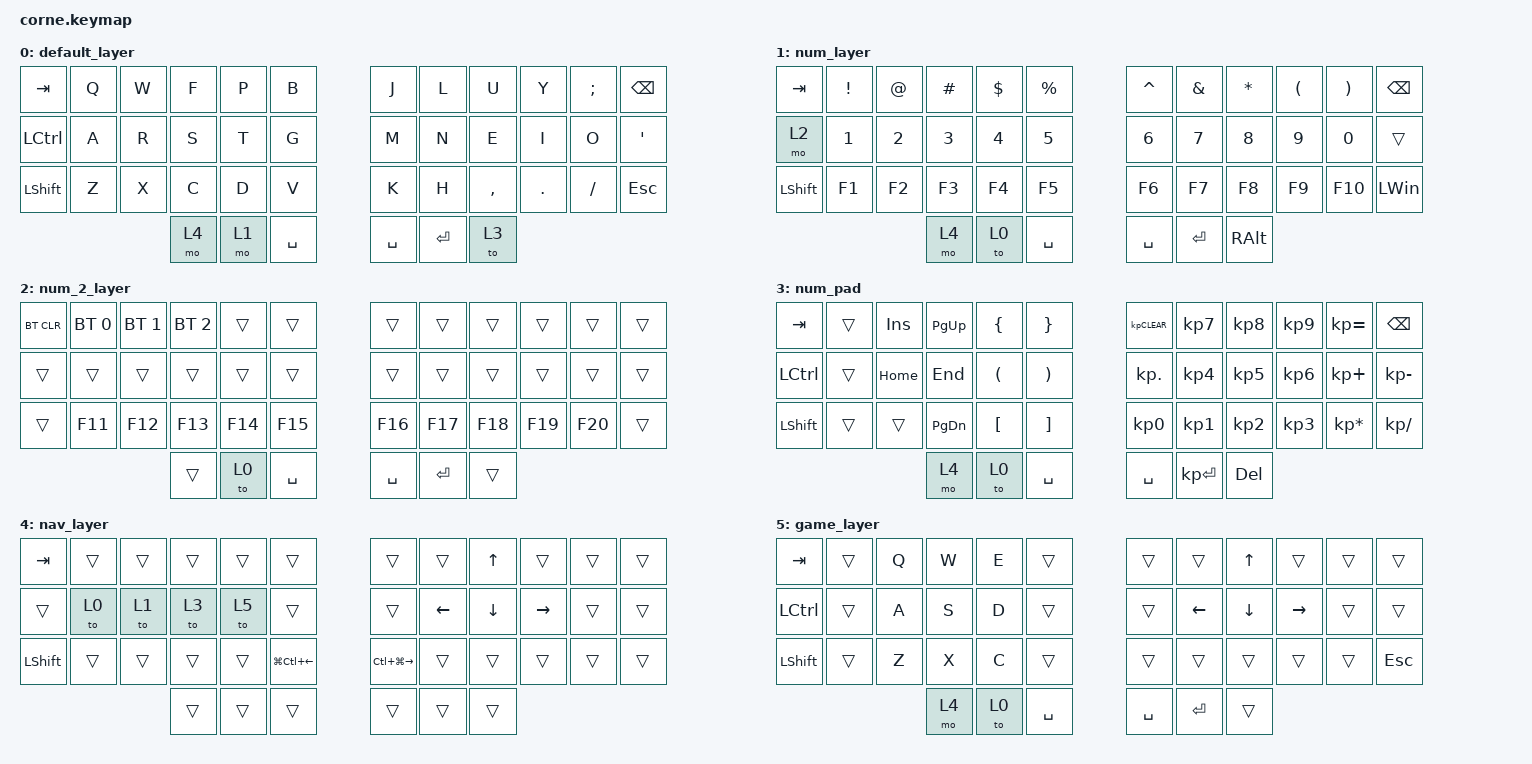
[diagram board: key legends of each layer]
/*
 * Copyright (c) 2020 The ZMK Contributors
 *
 * SPDX-License-Identifier: MIT
 */

#include <behaviors.dtsi>
#include <dt-bindings/zmk/bt.h>
#include <dt-bindings/zmk/keys.h>

/ {
    keymap {
        compatible = "zmk,keymap";

        default_layer {
            // -----------------------------------------------------------------------------------------
            // |  TAB |  Q  |  W  |  E  |  R  |  T  |   |  Y  |  U   |  I  |  O  |  P  | BKSP |
            // | CTRL |  A  |  S  |  D  |  F  |  G  |   |  H  |  J   |  K  |  L  |  ;  |  '   |
            // | SHFT |  Z  |  X  |  C  |  V  |  B  |   |  N  |  M   |  ,  |  .  |  /  | ESC  |
            //                    | GUI | LWR | SPC |   | ENT | RSE  | ALT |

            bindings = <
  &kp TAB  &kp Q  &kp W  &kp F  &kp P      &kp B        &kp J    &kp L      &kp U    &kp Y  &kp SEMI        &kp BSPC
&kp LCTRL  &kp A  &kp R  &kp S  &kp T      &kp G        &kp M    &kp N      &kp E    &kp I     &kp O  &kp APOSTROPHE
&kp LSHFT  &kp Z  &kp X  &kp C  &kp D      &kp V        &kp K    &kp H  &kp COMMA  &kp DOT  &kp FSLH         &kp ESC
                         &mo 4  &mo 1  &kp SPACE    &kp SPACE  &kp RET      &to 3
            >;
        };

        num_layer {
            // -----------------------------------------------------------------------------------------
            // |  TAB |  1  |  2  |  3  |  4  |  5  |   |  6  |  7  |  8  |  9  |  0  | BKSP |
            // | BTCLR| BT1 | BT2 | BT3 | BT4 | BT5 |   | LFT | DWN |  UP | RGT |     |      |
            // | SHFT |     |     |     |     |     |   |     |     |     |     |     |      |
            //                    | GUI |     | SPC |   | ENT |     | ALT |

            bindings = <
  &kp TAB  &kp EXCLAMATION   &kp AT_SIGN      &kp HASH    &kp DOLLAR   &kp PERCENT       &kp CARET  &kp AMPERSAND  &kp ASTERISK  &kp LEFT_PARENTHESIS  &kp RIGHT_PARENTHESIS      &kp BSPC
    &mo 2     &kp NUMBER_1  &kp NUMBER_2  &kp NUMBER_3  &kp NUMBER_4  &kp NUMBER_5    &kp NUMBER_6   &kp NUMBER_7  &kp NUMBER_8          &kp NUMBER_9           &kp NUMBER_0        &trans
&kp LSHFT           &kp F1        &kp F2        &kp F3        &kp F4        &kp F5          &kp F6         &kp F7        &kp F8                &kp F9                &kp F10  &kp LEFT_WIN
                                                 &mo 4         &to 0     &kp SPACE       &kp SPACE        &kp RET      &kp RALT
            >;
        };

        num_2_layer {
            bindings = <
&bt BT_CLR  &bt BT_SEL 0  &bt BT_SEL 1  &bt BT_SEL 2   &trans     &trans       &trans   &trans   &trans   &trans   &trans  &trans
    &trans        &trans        &trans        &trans   &trans     &trans       &trans   &trans   &trans   &trans   &trans  &trans
    &trans       &kp F11       &kp F12       &kp F13  &kp F14    &kp F15      &kp F16  &kp F17  &kp F18  &kp F19  &kp F20  &trans
                                              &trans    &to 0  &kp SPACE    &kp SPACE  &kp RET   &trans
            >;
        };

        num_pad {
            // -----------------------------------------------------------------------------------------
            // |  TAB |  !  |  @  |  #  |  $  |  %  |   |  ^  |  &  |  *  |  (  |  )  | BKSP |
            // | CTRL |     |     |     |     |     |   |  -  |  =  |  [  |  ]  |  \  |  `   |
            // | SHFT |     |     |     |     |     |   |  _  |  +  |  {  |  }  | "|" |  ~   |
            //                    | GUI |     | SPC |   | ENT |     | ALT |

            bindings = <
  &kp TAB  &trans  &kp INSERT  &kp PG_UP        &kp LEFT_BRACE        &kp RIGHT_BRACE       &kp KP_CLEAR  &kp KP_NUMBER_7  &kp KP_NUMBER_8  &kp KP_NUMBER_9     &kp KP_EQUAL       &kp BSPC
&kp LCTRL  &trans    &kp HOME    &kp END  &kp LEFT_PARENTHESIS  &kp RIGHT_PARENTHESIS         &kp KP_DOT  &kp KP_NUMBER_4  &kp KP_NUMBER_5  &kp KP_NUMBER_6      &kp KP_PLUS   &kp KP_MINUS
&kp LSHFT  &trans      &trans  &kp PG_DN      &kp LEFT_BRACKET      &kp RIGHT_BRACKET    &kp KP_NUMBER_0  &kp KP_NUMBER_1  &kp KP_NUMBER_2  &kp KP_NUMBER_3  &kp KP_MULTIPLY  &kp KP_DIVIDE
                                   &mo 4                 &to 0              &kp SPACE          &kp SPACE     &kp KP_ENTER          &kp DEL
            >;
        };

        nav_layer {
            bindings = <
  &kp TAB  &trans  &trans  &trans  &trans                  &trans                     &trans    &trans    &kp UP     &trans  &trans  &trans
   &trans   &to 0   &to 1   &to 3   &to 5                  &trans                     &trans  &kp LEFT  &kp DOWN  &kp RIGHT  &trans  &trans
&kp LSHFT  &trans  &trans  &trans  &trans  &kp LG(LC(LEFT_ARROW))    &kp LC(LG(RIGHT_ARROW))    &trans    &trans     &trans  &trans  &trans
                           &trans  &trans                  &trans                     &trans    &trans    &trans
            >;
        };

        game_layer {
            bindings = <
  &kp TAB  &trans  &kp Q  &kp W  &kp E     &trans       &trans    &trans    &kp UP     &trans  &trans   &trans
&kp LCTRL  &trans  &kp A  &kp S  &kp D     &trans       &trans  &kp LEFT  &kp DOWN  &kp RIGHT  &trans   &trans
&kp LSHFT  &trans  &kp Z  &kp X  &kp C     &trans       &trans    &trans    &trans     &trans  &trans  &kp ESC
                          &mo 4  &to 0  &kp SPACE    &kp SPACE   &kp RET    &trans
            >;
        };
    };
};
